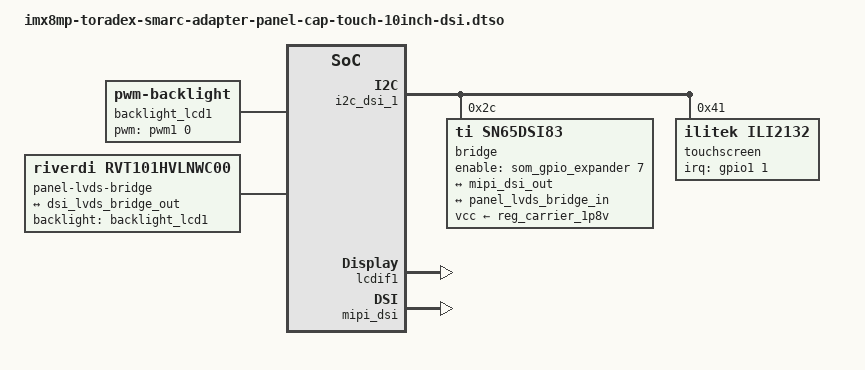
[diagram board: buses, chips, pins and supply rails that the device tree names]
// SPDX-License-Identifier: GPL-2.0-only OR MIT
/*
 * Copyright (c) Toradex
 *
 * Toradex Capacitive Touch Display 10.1" DSI connected via Toradex SMARC
 * Development Board DSI connector J44 through the Toradex DSI Display
 * Adapter. Open J95 to select the carrier DSI route.
 *
 * https://developer.toradex.com/hardware/accessories/displays/capacitive-touch-display-101inch-dsi
 * https://www.toradex.com/accessories/capacitive-touch-display-10.1-inch-dsi
 * https://developer.toradex.com/hardware/accessories/add-ons/dsi-display-adapter
 * https://www.toradex.com/accessories/verdin-dsi-display-adapter
 */

/dts-v1/;
/plugin/;

#include <dt-bindings/gpio/gpio.h>
#include <dt-bindings/interrupt-controller/irq.h>

&{/} {
	backlight_lcd1: backlight-lcd1 {
		compatible = "pwm-backlight";
		brightness-levels = <0 45 63 88 119 158 203 255>;
		default-brightness-level = <4>;
		/* SMARC LCD1_BKLT_PWM (SMARC S122) */
		pwms = <&pwm1 0 6666667 0>;
	};

	panel-lvds-bridge {
		compatible = "riverdi,rvt101hvlnwc00", "panel-lvds";
		backlight = <&backlight_lcd1>;
		data-mapping = "vesa-24";
		height-mm = <136>;
		width-mm = <217>;

		/*
		 * Use a combined horizontal sync and back porch of 96 pixels. The
		 * panel data sheet value of 88 pixels results in unstable display
		 * output with the i.MX8M Plus DSI display pipeline.
		 */
		panel-timing {
			clock-frequency = <69300000>;
			de-active = <1>;
			hactive = <1280>;
			hback-porch = <64 64 64>;
			hfront-porch = <72 72 72>;
			hsync-active = <0>;
			hsync-len = <32 32 32>;
			pixelclk-active = <1>;
			vactive = <800>;
			vback-porch = <15 15 15>;
			vfront-porch = <15 15 15>;
			vsync-active = <0>;
			vsync-len = <8 8 8>;
		};

		port {
			panel_lvds_bridge_in: endpoint {
				remote-endpoint = <&dsi_lvds_bridge_out>;
			};
		};
	};
};

/* I2C on DSI Connector Pins 52/54 */
&i2c_dsi_1 {
	#address-cells = <1>;
	#size-cells = <0>;

	bridge@2c {
		compatible = "ti,sn65dsi83";
		reg = <0x2c>;
		/* SMARC LCD1_BKLT_EN (SMARC S107) */
		enable-gpios = <&som_gpio_expander 7 GPIO_ACTIVE_HIGH>;
		vcc-supply = <&reg_carrier_1p8v>;

		ports {
			#address-cells = <1>;
			#size-cells = <0>;

			port@0 {
				reg = <0>;

				dsi_lvds_bridge_in: endpoint {
					data-lanes = <1 2 3 4>;
					remote-endpoint = <&mipi_dsi_out>;
				};
			};

			port@2 {
				reg = <2>;

				dsi_lvds_bridge_out: endpoint {
					remote-endpoint = <&panel_lvds_bridge_in>;
				};
			};
		};
	};

	touchscreen@41 {
		compatible = "ilitek,ili2132";
		reg = <0x41>;
		/* SMARC GPIO8 (SMARC P116) - DSI_INT# */
		/* Rising edge avoids spurious interrupts from the noisy falling edge. */
		interrupt-parent = <&gpio1>;
		interrupts = <1 IRQ_TYPE_EDGE_RISING>;
	};
};

&lcdif1 {
	status = "okay";
};

&mipi_dsi {
	samsung,esc-clock-frequency = <16000000>;

	status = "okay";
};

&mipi_dsi_out {
	remote-endpoint = <&dsi_lvds_bridge_in>;
};
